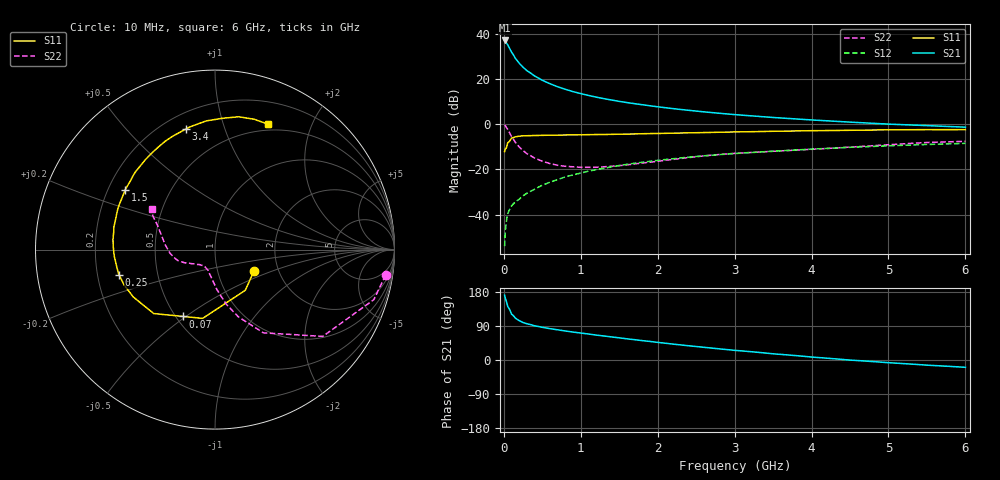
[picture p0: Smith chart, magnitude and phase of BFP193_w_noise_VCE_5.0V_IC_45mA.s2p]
! Infineon Technologies  Discrete & RF Semiconductors
! BFP193
! VCE =  5.0 V,  IC =  45 mA
! Common Emitter S-Parameters:  Jan 2017
# GHz  S  MA  R  50
!  f  S11  S21  S12  S22
! GHz  MAG  ANG  MAG  ANG  MAG  ANG  MAG  ANG
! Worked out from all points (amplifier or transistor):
!   77 points, 10 MHz to 6 GHz, reference 50 ohm
!   highest |S21| = 37.1 dB at 10 MHz (marker M1)
!   |S21| within 3 dB of that: start of sweep to 67.16 MHz
!   unconditionally stable (mu >= 1): 610.4 MHz to 2.37 GHz
!   at 130 MHz: K = 0.59, MSG = 32.7 dB, |S12| = -35.0 dB
!   at 2.2 GHz: K = 1.01, MAG = 10.5 dB, |S12| = -15.3 dB
!   at 6 GHz: K = 0.93, MSG = 3.6 dB, |S12| = -8.5 dB
!   lowest NFmin = 1.45 dB at 450 MHz
!   S11 on the Smith chart (normalised r, x): 10 MHz: 1.50, -0.38; 70 MHz: 0.54, -0.49; 250 MHz: 0.29, -0.12; 1.5 GHz: 0.27, +0.28; 3.4 GHz: 0.29, +0.75; 6 GHz: 0.43, +1.41
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0.01  0.2479 -28.7  71.29 170.8  0.002 85.5  0.9613 -8.5
0.02  0.2827 -53.4  69.6 162.6  0.0044 75.5  0.9278 -17.5
0.05  0.3894 -100.2  57.2 141.5  0.0104 66.4  0.7713 -38.8
0.07  0.4127 -115.5  49.42 135.1  0.0125 64.0  0.6677 -45.4
0.1  0.4934 -133.8  39.45 121.1  0.0156 61.7  0.5368 -59.8
0.15  0.5263 -149.9  28.72 110.4  0.0191 58.3  0.396 -70.9
0.2  0.5435 -158.8  22.35 103.8  0.0219 62.1  0.3137 -78.0
0.25  0.5531 -165.3  18.19 98.9  0.026 60.6  0.2601 -82.8
0.3  0.5557 -169.6  15.3 95.6  0.0297 63.5  0.2227 -87.3
0.4  0.5627 -176.5  11.65 90.2  0.0364 65.9  0.1776 -93.4
0.5  0.5672 178.4  9.363 86.2  0.0446 66.7  0.1514 -98.9
0.6  0.5714 174.3  7.853 82.7  0.0522 67.3  0.1344 -104.0
0.7  0.5725 170.5  6.742 79.7  0.0597 67.9  0.1232 -108.1
0.9  0.5782 163.7  5.253 73.7  0.0756 67.0  0.114 -116.1
1.1  0.5869 157.5  4.331 68.6  0.0912 65.8  0.111 -123.3
1.5  0.6016 146.2  3.2 58.5  0.1216 61.7  0.121 -136.6
2.1  0.628 130.2  2.317 44.3  0.1654 54.5  0.1587 -151.2
3.1  0.6774 108.8  1.584 23.9  0.2296 41.8  0.2309 -168.8
3.4  0.6916 103.4  1.45 18.4  0.2468 38.4  0.2462 -173.9
4.1  0.7206 92.4  1.215 6.3  0.2859 30.1  0.2842 172.4
5.1  0.7522 78.6  0.989 -8.3  0.3371 18.5  0.3593 155.5
6  0.7585 67.3  0.859 -19.3  0.3766 8.5  0.4185 147.5
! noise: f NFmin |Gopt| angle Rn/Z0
0.45  1.45  0.4  -171  0.08
0.9  1.49  0.43  -165  0.08
1.9  2.13  0.59  -134  0.21
2.4  2.45  0.63  -119  0.45
